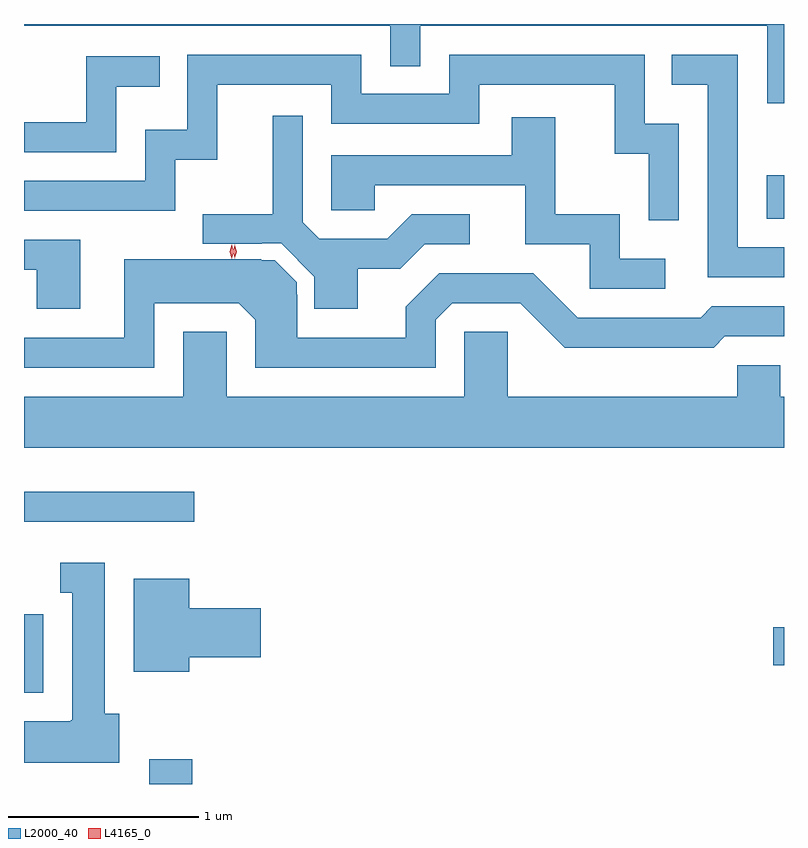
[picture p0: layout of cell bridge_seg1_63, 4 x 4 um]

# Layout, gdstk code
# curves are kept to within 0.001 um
import gdstk
lib = gdstk.Library(unit=1e-6, precision=1e-09)
def R(c, l, rs):  # rectangles x0, y0, x1, y1
    for r in rs: c.add(gdstk.rectangle(r[:2], r[2:], *l))
def P(c, l, *ps):  # polygons
    for p in ps: c.add(gdstk.Polygon(p, *l))
L2000_40 = (2000, 40)
L4165_0 = (4165, 0)

bridge_seg1_63 = lib.new_cell('bridge_seg1_63')
R(bridge_seg1_63, L2000_40, [(1879.941,971.065,1880.169,971.194), (1879.283,971.546,1879.384,971.959), (1883.226,971.691,1883.283,971.889), (1879.283,972.446,1880.178,972.604), (1883.191,974.041,1883.283,974.269)])
P(bridge_seg1_63, L2000_40, [(1883.283,975.065),(1879.283,975.065),(1879.283,975.056),(1881.211,975.056),(1881.211,974.843),(1881.369,974.843),(1881.369,975.056),(1883.196,975.056),(1883.196,974.648),(1883.283,974.648)],
  [(1882.729,974.539),(1882.549,974.539),(1882.549,974.904),(1881.521,974.904),(1881.521,974.699),(1881.059,974.699),(1881.059,974.904),(1880.141,974.904),(1880.141,974.509),(1879.921,974.509),(1879.921,974.239),(1879.283,974.239),(1879.283,974.081),(1880.079,974.081),(1880.079,974.351),(1880.299,974.351),(1880.299,974.746),(1880.901,974.746),(1880.901,974.541),(1881.679,974.541),(1881.679,974.746),(1882.391,974.746),(1882.391,974.381),(1882.571,974.381),(1882.571,974.033),(1882.729,974.033)],
  [(1883.283,973.889),(1883.039,973.889),(1883.039,974.904),(1882.693,974.904),(1882.693,974.746),(1882.881,974.746),(1882.881,973.731),(1883.283,973.731)],
  [(1879.769,974.736),(1879.998,974.736),(1879.998,974.894),(1879.611,974.894),(1879.611,974.549),(1879.283,974.549),(1879.283,974.391),(1879.769,974.391)],
  [(1881.039,973.776),(1881.262,973.776),(1881.392,973.906),(1881.628,973.906),(1881.628,974.064),(1881.324,974.064),(1881.194,973.934),(1880.837,973.934),(1880.749,974.022),(1880.749,974.583),(1880.591,974.583),(1880.591,974.064),(1880.223,974.064),(1880.223,973.908),(1880.535,973.908),(1880.535,973.91),(1880.636,973.91),(1880.811,973.734),(1880.811,973.566),(1881.039,973.566)],
  [(1882.658,973.829),(1882.419,973.829),(1882.419,974.064),(1882.079,974.064),(1882.079,974.574),(1881.851,974.574),(1881.851,974.374),(1880.901,974.374),(1880.901,974.086),(1881.129,974.086),(1881.129,974.216),(1881.921,974.216),(1881.921,973.906),(1882.261,973.906),(1882.261,973.671),(1882.658,973.671)],
  [(1879.579,973.929),(1879.283,973.929),(1879.283,973.771),(1879.351,973.771),(1879.351,973.566),(1879.579,973.566)],
  [(1879.969,973.596),(1880.414,973.596),(1880.501,973.509),(1880.501,973.256),(1881.449,973.256),(1881.449,973.509),(1881.537,973.596),(1881.894,973.596),(1882.129,973.361),(1882.912,973.361),(1882.972,973.421),(1883.283,973.421),(1883.283,973.579),(1882.904,973.579),(1882.844,973.519),(1882.197,973.519),(1881.962,973.754),(1881.469,973.754),(1881.291,973.577),(1881.291,973.414),(1880.72,973.414),(1880.719,973.706),(1880.603,973.822),(1880.532,973.822),(1880.532,973.827),(1879.811,973.828),(1879.811,973.414),(1879.283,973.414),(1879.283,973.256),(1879.969,973.256)],
  [(1883.283,973.104),(1883.264,973.104),(1883.264,973.269),(1883.036,973.269),(1883.036,973.104),(1881.829,973.104),(1881.829,973.444),(1881.601,973.444),(1881.601,973.104),(1880.349,973.104),(1880.349,973.444),(1880.121,973.444),(1880.121,973.104),(1879.283,973.104),(1879.283,972.836),(1883.283,972.836)],
  [(1879.784,971.434),(1879.709,971.434),(1879.709,972.229),(1879.473,972.229),(1879.473,972.071),(1879.536,972.071),(1879.536,971.4),(1879.53,971.4),(1879.53,971.394),(1879.283,971.394),(1879.283,971.176),(1879.784,971.176)],
  [(1880.154,971.731),(1880.529,971.731),(1880.529,971.989),(1880.154,971.989),(1880.154,972.144),(1879.861,972.144),(1879.861,971.656),(1880.154,971.656)])
P(bridge_seg1_63, L4165_0, [(1880.393,973.833),(1880.392,973.834),(1880.383,973.867),(1880.392,973.901),(1880.393,973.902),(1880.393,973.901),(1880.403,973.867),(1880.393,973.834)],
  [(1880.376,973.83),(1880.376,973.831),(1880.366,973.867),(1880.376,973.903),(1880.376,973.904),(1880.377,973.903),(1880.386,973.867),(1880.377,973.831)])

lib.write_gds('bridge_seg1_63.gds')
